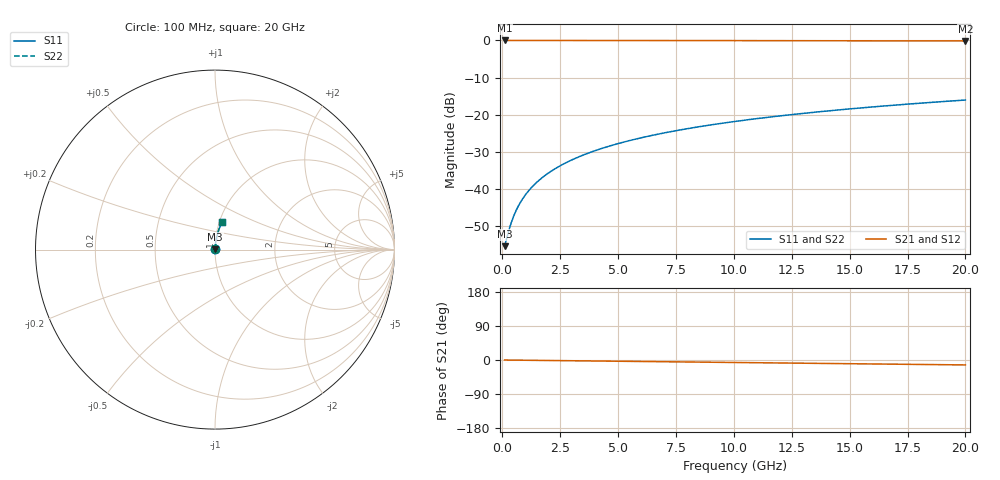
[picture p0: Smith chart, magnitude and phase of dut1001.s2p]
! Touchstone file exported from HFSS 2026.1.0
!  File:  C:/ffzhzh/LocalFiles/Ansys_Project_Files/temp_train_TSV_1001_1783188409_18472.aedt
!  Generated:  02:09:04 AM Jul  5, 2026
!  Design:  TSV
!  Project:  temp_train_TSV_1001_1783188409_18472
! Variables:
!  h_bsmrdl = 2um
!  h_ox = 20um
!  h_rdl = 5um
!  h_sub = 89.05um
!  h_tmrdl = 5um
!  h_tsv = 89.05um
!  h_via = 3um
!  l_bsmrdl = 300um
!  l_sub = 405.24um
!  l_tmrdl = 200um
!  m_sub = 200um
!  pitch = 51.71um
!  r_tsv = 2.62um
!  s_tmrdl = 10um
!  w_bsmrdl = 18um
!  w_sub = 500um
!  w_tmrdl = 12um
!  x_tsv_center1 = 206um
!  x_tsv_center2 = 524um
!  x_tsv_center3 = 736um
!  x_tsv_center4 = 1054um
!  x_tsv_center5 = 1266um
!  x_tsv_center6 = 1584um
# GHz S MA R 50.000000
! Terminal data exported
! Port[1] = TSV1_1_T1
! Port[2] = TSV1_1_T2
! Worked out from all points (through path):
!   200 points, 100 MHz to 20 GHz, reference 50 ohm
!   highest |S21| = -0.01 dB at 100 MHz (marker M1); lowest = -0.1 dB at 20 GHz (marker M2)
!   group delay of S21, straight-line fit = 1.8 ps
!   lowest |S11| = -55.3 dB at 100 MHz (marker M3), VSWR 1.00, Z = 50.1 + j0.0832 ohm
!   |S11| at or under -10 dB: start of sweep to end of sweep
!   |S22| runs from -55.3 to -16.0 dB; largest |S21 - S12| = 2.4e-15
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0.1  0.001711 29.0  0.9985 -0.1  0.9985 -0.1  0.001711 29.0
! Gamma 0 0 0 0
! Port Impedance 50 0 50 0
0.3  0.00291 58.6  0.9985 -0.2  0.9985 -0.2  0.00291 58.6
0.4  0.003645 65.2  0.9985 -0.3  0.9985 -0.3  0.003645 65.2
0.5  0.00441 69.5  0.9985 -0.3  0.9985 -0.3  0.00441 69.5
0.6  0.005192 72.5  0.9985 -0.4  0.9985 -0.4  0.005192 72.5
0.7  0.005984 74.7  0.9984 -0.5  0.9984 -0.5  0.005984 74.7
0.9  0.007586 77.6  0.9984 -0.6  0.9984 -0.6  0.007586 77.6
1.2  0.01001 80.2  0.9984 -0.8  0.9984 -0.8  0.01001 80.2
1.4  0.01164 81.3  0.9984 -0.9  0.9984 -0.9  0.01164 81.3
1.7  0.01408 82.4  0.9983 -1.1  0.9983 -1.1  0.01408 82.4
2.2  0.01817 83.4  0.9982 -1.5  0.9982 -1.5  0.01817 83.4
2.8  0.02307 83.9  0.998 -1.9  0.998 -1.9  0.02307 83.9
3.5  0.02878 84.2  0.9978 -2.3  0.9978 -2.3  0.02878 84.2
4.2  0.03449 84.1  0.9976 -2.8  0.9976 -2.8  0.03449 84.1
5  0.04098 83.9  0.9972 -3.3  0.9972 -3.3  0.04098 83.9
5.9  0.04826 83.6  0.9967 -3.9  0.9967 -3.9  0.04826 83.6
6.8  0.05551 83.2  0.9962 -4.5  0.9962 -4.5  0.05551 83.2
8.3  0.0675 82.4  0.9952 -5.5  0.9952 -5.5  0.0675 82.4
10.1  0.08177 81.4  0.9938 -6.7  0.9938 -6.7  0.08177 81.4
13.4  0.1076 79.4  0.9909 -8.8  0.9909 -8.8  0.1076 79.4
16.7  0.133 77.5  0.9874 -10.9  0.9874 -10.9  0.133 77.5
20  0.1579 75.5  0.9833 -13.0  0.9833 -13.0  0.1579 75.5
